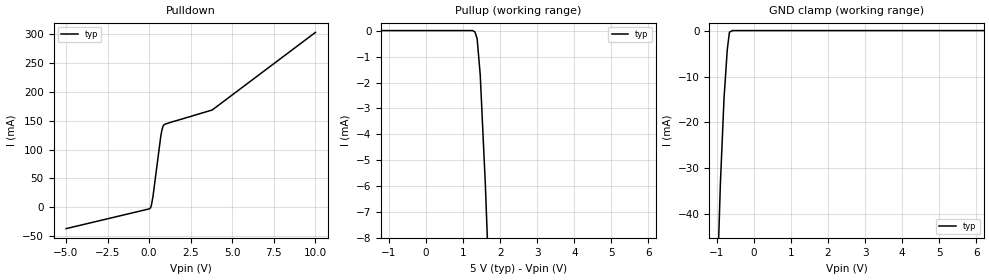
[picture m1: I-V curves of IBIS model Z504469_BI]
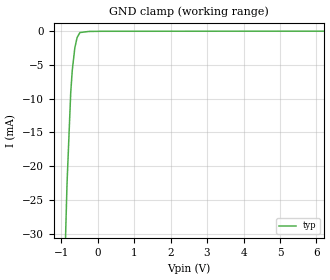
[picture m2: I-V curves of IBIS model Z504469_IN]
| YOU ARE ONLY AUTHORIZED TO USE THIS SOFTWARE
| ACCORDING TO LICENSOR'S LICENSE RESTRICTIONS.
[IBIS Ver] 3.1
[File Name] sn54ls645j.ibs
[File Rev] 2.0
[Source] Measured and created by ICX Technology
[Date] Friday 7/14/00 9:08:15 AM
[Copyright]
| (C) COPYRIGHT 1993-2000
| MENTOR GRAPHICS CORPORATION
| ICX STANDARD LIBRARY, ICX PROJECT MODELING,
| ICX CUSTOM MODELING, ICX VENDOR MODEL
| ALL RIGHTS RESERVED.
| THE FOLLOWING ARE TRADEMARKS OR SERVICE MARKS OF
| MENTOR GRAPHICS CORPORATION:ICX (R), ICX STANDARD
| LIBRARY(R), ICX PROJECT MODELING(R), ICX CUSTOM
| MODELING(R), qualityIBIS(TM), MODELVIEWER(TM),
| AND MODELEDITOR(TM)
| ALL COPIES OF SOFTWARE, INCLUDING BUT NOT LIMITED TO
| ANY MODIFICATIONS, ENHANCEMENTS OR DERIVATIVE WORKS,
| MUST CONTAIN ALL MENTOR GRAPHICS CORPORATION'S
| NOTICES AND LEGENDS, INCLUDING THOSE EMBEDDED IN
| SOFTWARE AND THOSE AFFIXED TO SOFTWARE MEDIUM
| AND CONTAINER, AS RECEIVED FROM MENTOR GRAPHICS
| CORPORATION.
|  ZAP Model Builder 2.7
[Component] SN54LS645J
[Manufacturer] OnSemiconductor
[Package]
| variable   typ   min   max
R_pkg  .216ohms NA NA
L_pkg  5.76nH NA NA
C_pkg  2.193pF NA NA
[Pin] signal_name  model_name  R_pin  L_pin C_pin
1 DIR Z504469_IN .232 9.76n 3.179p
2 A0 Z504469_BI .224 7.26n 2.686p
3 A1 Z504469_BI .216 5.26n 2.193p
4 A2 Z504469_BI .208 3.76n 1.7p
5 A3 Z504469_BI .2 2.76n 1.207p
6 A4 Z504469_BI .2 2.76n 1.207p
7 A5 Z504469_BI .208 3.76n 1.7p
8 A6 Z504469_BI .216 5.26n 2.193p
9 A7 Z504469_BI .224 7.26n 2.686p
10 GND GND .232 9.76n 3.179p
11 B7 Z504469_BI .232 9.76n 3.179p
12 B6 Z504469_BI .224 7.26n 2.686p
13 B5 Z504469_BI .216 5.26n 2.193p
14 B4 Z504469_BI .208 3.76n 1.7p
15 B3 Z504469_BI .2 2.76n 1.207p
16 B2 Z504469_BI .2 2.76n 1.207p
17 B1 Z504469_BI .208 3.76n 1.7p
18 B0 Z504469_BI .216 5.26n 2.193p
19 _G Z504469_IN .224 7.26n 2.686p
20 VCC POWER .232 9.76n 3.179p
| Models and submodels in the file (2): Z504469_BI (I/O), Z504469_IN (Input)
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| (C) COPYRIGHT 1993-2000
| MENTOR GRAPHICS CORPORATION
| ICX STANDARD LIBRARY, ICX PROJECT MODELING,
| ICX CUSTOM MODELING, ICX VENDOR MODEL
| ALL RIGHTS RESERVED.
| THE FOLLOWING ARE TRADEMARKS OR SERVICE MARKS OF
| MENTOR GRAPHICS CORPORATION:ICX (R), ICX STANDARD
| LIBRARY(R), ICX PROJECT MODELING(R), ICX CUSTOM
| MODELING(R), qualityIBIS(TM), MODELVIEWER(TM),
| AND MODELEDITOR(TM)
| ALL COPIES OF SOFTWARE, INCLUDING BUT NOT LIMITED TO
| ANY MODIFICATIONS, ENHANCEMENTS OR DERIVATIVE WORKS,
| MUST CONTAIN ALL MENTOR GRAPHICS CORPORATION'S
| NOTICES AND LEGENDS, INCLUDING THOSE EMBEDDED IN
| SOFTWARE AND THOSE AFFIXED TO SOFTWARE MEDIUM
| AND CONTAINER, AS RECEIVED FROM MENTOR GRAPHICS
| CORPORATION.
| Model Application Version 1.89 2/18/99.
[Model] Z504469_BI
Model_type I/O
Vinl=800.0mV
Vinh=2.000V
Vref=588.0mV
Rref=588.5ohms
Cref=45.00pF
Vmeas=1.300V
C_comp 8.000pF NA NA
| variable typ   min   max
[Voltage Range] 5.000V NA NA
[POWER Clamp Reference] 5.000V NA NA
[Pullup Reference] 5.000V NA NA
[Pulldown Reference] 0.000V NA NA
[GND Clamp Reference] 0.000V NA NA
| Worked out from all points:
|   slope of the pulldown table from 0 to 0.75 V, typ, clamps not added: 5.61 ohm
|   GND clamp passes 1 mA (typ) near -0.67 V on its own axis
[GND Clamp]
-5V       -1.581A    NA         NA
-1.011V   -61.42mA   NA         NA
-903.3mV  -33.47mA   NA         NA
-804.4mV  -14.74mA   NA         NA
-717.8mV  -4.237mA   NA         NA
-659.2mV  -350.1uA   NA         NA
-576.8mV  0A         NA         NA
10V       0A         NA         NA
[Pulldown]
-5V       -36.76mA   NA         NA
68.59mV   -1.282mA   NA         NA
127mV     2.644mA    NA         NA
229.1mV   18.61mA    NA         NA
694.4mV   121.9mA    NA         NA
761.7mV   133mA      NA         NA
835.1mV   140.5mA    NA         NA
873.8mV   142.3mA    NA         NA
1.365V    147.8mA    NA         NA
3.778V    168.2mA    NA         NA
10V       302.7mA    NA         NA
[Pullup]
-5V       1.644uA    NA         NA
1.26V     1.644uA    NA         NA
1.323V    -54.03uA   NA         NA
1.381V    -316.9uA   NA         NA
1.464V    -1.698mA   NA         NA
1.602V    -5.925mA   NA         NA
10V       -326mA     NA         NA
[POWER Clamp]
-5V       0A         NA         NA
10V       0A         NA         NA
[Ramp]
| variable typ min max
dV/dt_r 1.975/7.569n NA NA
dV/dt_f 1.975/1.457n NA NA
R_load = 500.0Ohms
| (C) COPYRIGHT 1993-2000
| MENTOR GRAPHICS CORPORATION
| ICX STANDARD LIBRARY, ICX PROJECT MODELING,
| ICX CUSTOM MODELING, ICX VENDOR MODEL
| ALL RIGHTS RESERVED.
| THE FOLLOWING ARE TRADEMARKS OR SERVICE MARKS OF
| MENTOR GRAPHICS CORPORATION:ICX (R), ICX STANDARD
| LIBRARY(R), ICX PROJECT MODELING(R), ICX CUSTOM
| MODELING(R), qualityIBIS(TM), MODELVIEWER(TM),
| AND MODELEDITOR(TM)
| ALL COPIES OF SOFTWARE, INCLUDING BUT NOT LIMITED TO
| ANY MODIFICATIONS, ENHANCEMENTS OR DERIVATIVE WORKS,
| MUST CONTAIN ALL MENTOR GRAPHICS CORPORATION'S
| NOTICES AND LEGENDS, INCLUDING THOSE EMBEDDED IN
| SOFTWARE AND THOSE AFFIXED TO SOFTWARE MEDIUM
| AND CONTAINER, AS RECEIVED FROM MENTOR GRAPHICS
| CORPORATION.
| Model Application Version 1.89 2/18/99.
[Model] Z504469_IN
Model_type Input
Vinl = 800.0mV
Vinh = 2.000V
C_comp 4.000pF NA NA
| variable typ   min   max
[Voltage Range] 5.000V NA NA
[GND Clamp Reference] 0.000V NA NA
[POWER Clamp Reference] 5.000V NA NA
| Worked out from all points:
|   GND clamp passes 1 mA (typ) near -0.56 V on its own axis
[GND Clamp]
-5V       -834.1mA   NA         NA
-838.3mV  -22.66mA   NA         NA
-737mV    -9.135mA   NA         NA
-693.4mV  -5.742mA   NA         NA
-623.2mV  -2.463mA   NA         NA
-561.5mV  -956.7uA   NA         NA
-484.5mV  -219.3uA   NA         NA
-242.2mV  -57.66uA   NA         NA
107.3mV   -29.04uA   NA         NA
10V       -1.306uA   NA         NA
[POWER Clamp]
-5V       0A         NA         NA
10V       0A         NA         NA
